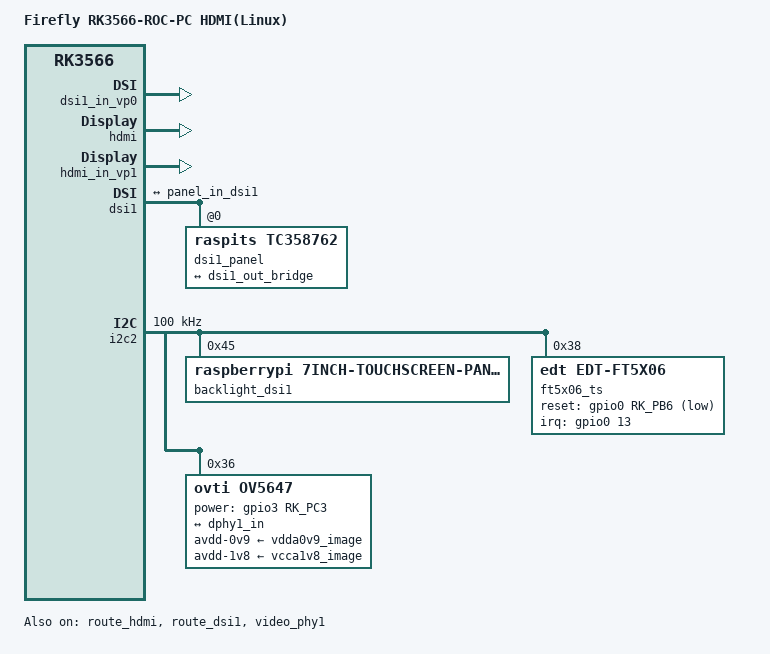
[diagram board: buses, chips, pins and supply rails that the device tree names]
// SPDX-License-Identifier: (GPL-2.0+ OR MIT)
/*
 * Copyright (c) 2020 Rockchip Electronics Co., Ltd.
 *
 */

 /dts-v1/;

#include "rk3566-firefly-roc-pc.dtsi"

/*
*								select camera
*
* using single camera xc7160        --->  rk3566-firefly-roc-pc-cam-8ms1m.dtsi
* using dual camera gc2053/gc2093   --->  rk3566-firefly-roc-pc-cam-2ms2m.dtsi
*
*/
//#include "rk3566-firefly-roc-pc-cam-8ms1m.dtsi"
//#include "rk3566-firefly-roc-pc-mipi101_M101014_BE45_A1-cam_2ms2mf.dtsi"
#include "rk3566-firefly-roc-pc-cam-2ms2m.dtsi"


/ {
    model = "Firefly RK3566-ROC-PC HDMI(Linux)";
    compatible = "rockchip,rk3566-firefly-roc-pc", "rockchip,rk3566";
};

&route_hdmi {
	status = "okay";//"disabled";
	connect = <&vp1_out_hdmi>;
};

//dsi0

&route_dsi0 {
    status = "disabled";//"okay";
    connect = <&vp0_out_dsi0>;
};

&video_phy0 {
    status = "disabled";//"okay";
};

&dsi0_in_vp0 {
    status = "disabled";//"okay";
};

&dsi0_in_vp1 {
    status = "disabled";
};

//dsi1

&route_dsi1 {
    status = "okay";//"disabled";
    connect = <&vp0_out_dsi1>;
};

&video_phy1 {
    status = "okay";//"disabled";
};

&dsi1_in_vp0 {
    status = "okay";//"disabled";
};

&dsi1_in_vp1 {
    status = "disabled";
};

//hdmi

&hdmi {
	status = "okay";//"disabled";
};

&hdmi_in_vp0 {
	status = "disabled";
};

&hdmi_in_vp1 {
	status = "okay";//"disabled";
};

&hdmi_sound {
	status = "disabled";
};

/*
 * mipi_dphy0 needs to be enabled
 * when dsi0 is enabled
 */
&dsi1 {
    status = "okay";
    //rockchip,lane-rate = <1000>;
//   dsi1_panel: panel@0 {
//      status = "okay";
//      compatible = "raspberrypi,7inch-dsi";
//      reg = <0>;
//     // backlight = <&backlight_dsi1>;  
//   
//	enable-delay-ms = <35>;
//	prepare-delay-ms = <6>;
//	reset-delay-ms = <25>;
//	init-delay-ms = <55>;
//	unprepare-delay-ms = <0>;
//	disable-delay-ms = <20>;
//	mipi-data-delay-ms = <200>;			  
//	dsi,lanes  = <2>;
//   
//      ports {
//          #address-cells = <1>;
//          #size-cells = <0>;
//   
//          port@0 {
//              reg = <0>;
//              panel_in: endpoint {
//                  remote-endpoint = <&bridge_out>;
//              };
//          };
//      };
//};
//
//	bridge:bridge@0{
//		reg = <0>;
//		compatible = "toshiba,tc358762";
//		//vddc-supply = <&reg_bridge>;
//		ports {
//					#address-cells = <1>;
//					#size-cells = <0>;
//
//					port@0 {
//						reg = <0>;
//						bridge_in: endpoint {
//							remote-endpoint = <&dsi1_out_bridge>;
//						};
//					};
//
//					port@1 {
//						reg = <1>;
//						bridge_out: endpoint {
//							remote-endpoint = <&panel_in>;
//						};
//					};
//		};
//
//	};
dsi1_panel: dsi-panel@0 {
				compatible = "raspits,tc358762";
				reg = <0x0>;
				status = "okay";

				ports {
					#address-cells = <1>;
					#size-cells = <0>;

					port@0 {
						reg = <0>;
						panel_in_dsi1: endpoint {
							remote-endpoint = <&dsi1_out_bridge>;
						};
					};
				};
	};

	
    ports {
        #address-cells = <1>;
        #size-cells = <0>;

        port@1 {
            reg = <1>;
            dsi1_out_bridge: endpoint {
                remote-endpoint = <&panel_in_dsi1>;
            };
        };
	};
};

&i2c2 {
	status = "okay";
	pinctrl-names = "default";
	clock-frequency = <100000>;
	pinctrl-0 = <&i2c2m1_xfer>;
	avdd-1v8-supply = <&vcca1v8_image>;
	avdd-0v9-supply = <&vdda0v9_image>;
	power-domains = <&power RK3568_PD_VI>;
	#address-cells = <1>;
	#size-cells = <0>;
	backlight_dsi1:backlight@45{ /*背光地址0x45*/
		compatible = "raspberrypi,7inch-touchscreen-panel-regulator";
		reg = <0x45>;
		status = "okay";
    };
	ft5x06_ts@38 { /*触屏地址0x38*/
		compatible = "edt,edt-ft5x06", "ft5x06";
		reg = <0x38>;
		interrupt-parent = <&gpio0>;
		interrupts = <13 IRQ_TYPE_LEVEL_LOW>;
		power-domains = <&power RK3568_PD_VI>;
		reset-gpios = <&gpio0 RK_PB6 GPIO_ACTIVE_LOW>;
		touchscreen-size-x = < 800 >;
		touchscreen-size-y = < 480 >;
		status = "okay";
	};
/*ov5647地址0x36*/
	ov5647@36 {
		status = "okay";
		compatible = "ovti,ov5647";
		reg = <0x36>;
		clocks = <&cru CLK_CAM0_OUT>;
		//pinctrl-0 = <&cam_clkout0>;//double clk
		clock-names = "xvclk";
		pinctrl-names = "default";
		pinctrl-0 = <&cam_clkout0>; //怎么选？
		power-domains = <&power RK3568_PD_VI>;
		avdd-0v9-supply = <&vdda0v9_image>;
		avdd-1v8-supply = <&vcca1v8_image>; /* reset-gpio gpio4 b1 pwdn-gpios gpio4 c5 */
		power-gpios = <&gpio3 RK_PC3 GPIO_ACTIVE_HIGH>;
		/*power-domains = <&power RK3568_PD_VI>;*/
		/*pwdn-gpios = <&gpio3 RK_PC3 GPIO_ACTIVE_HIGH>; reset-gpios  gpios? pwdn-gpios? power-gpios = <&gpio3 RK_PC3 GPIO_ACTIVE_HIGH>; 驱动没有操作IO需要修改*/
		port {
			ov5647_out: endpoint {
				remote-endpoint = <&dphy1_in>;//double use dphy1_in single use mipi_in_ucam3
                data-lanes = <1 2>;
            };
        };
	};
};



